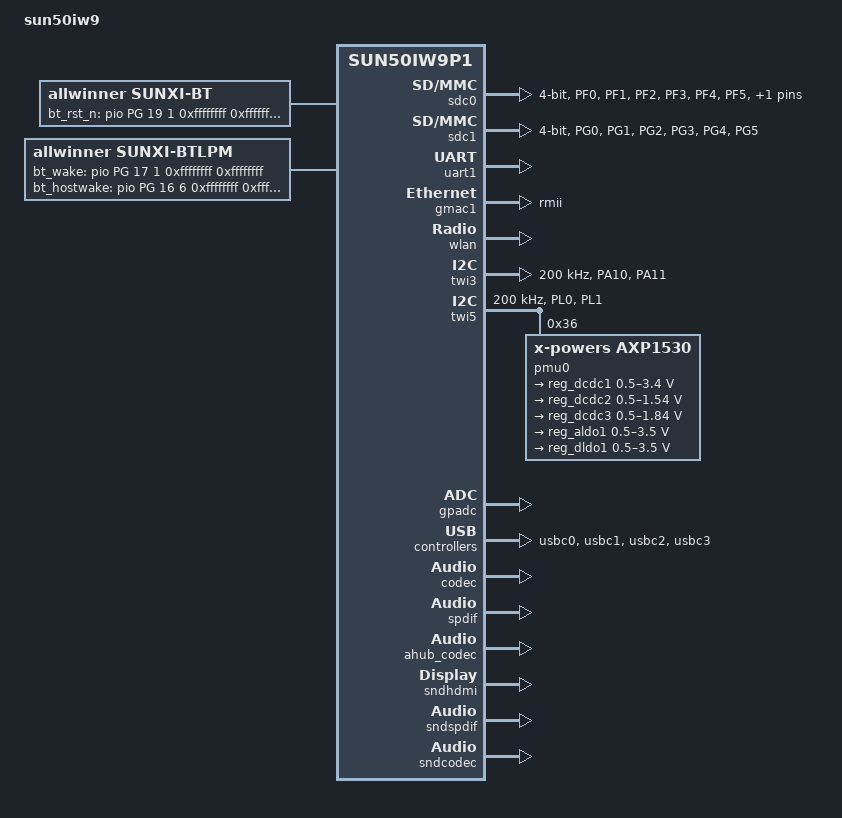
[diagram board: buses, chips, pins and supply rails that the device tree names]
/*
 * Allwinner Technology CO., Ltd. sun8iw19p1 soc board.
 *
 * soc board support.
 */

/dts-v1/;

#include "sun50iw9p1.dtsi"

/{
	model = "sun50iw9";
	compatible = "allwinner,h616", "arm,sun50iw9p1";

	soc@03000000 {
		sdc2: sdmmc@04022000 {
			pinctrl-0 = <&sdc2_pins_a &sdc2_pins_c>;
			non-removable;
			bus-width = <8>;
			mmc-ddr-1_8v;
			mmc-hs200-1_8v;
			mmc-hs400-1_8v;
			no-sdio;
			no-sd;
			cap-mmc-highspeed;
			sunxi-power-save-mode;
			sunxi-dis-signal-vol-sw;
			max-frequency = <100000000>;
			status = "disabled";
		};

		sdc0: sdmmc@04020000 {
			pinctrl-0 = <&sdc0_pins_a>;
			bus-width = <4>;
			cd-gpios = <&pio PF 6 6 1 3 0xffffffff>;
			/*non-removable;*/
			/*broken-cd;*/
			/*cd-inverted*/
			/*data3-detect;*/
			cap-sd-highspeed;
			/*sd-uhs-sdr50;*/
			/*sd-uhs-ddr50;*/
			/*sd-uhs-sdr104;*/
			no-sdio;
			no-mmc;
			sunxi-power-save-mode;
			/*sunxi-dis-signal-vol-sw;*/
			max-frequency = <50000000>;
			ctl-spec-caps = <0x8>;
			status = "okay";
		};

		sdc1: sdmmc@04021000 {
			pinctrl-0 = <&sdc1_pins_a>;
			bus-width = <4>;
			no-mmc;
			no-sd;
			cap-sd-highspeed;
			/*sd-uhs-sdr12*/
			/*sd-uhs-sdr25*/
			/*sd-uhs-sdr50;*/
			/*sd-uhs-ddr50;*/
			/*sd-uhs-sdr104*/
			/*sunxi-power-save-mode;*/
			/*sunxi-dis-signal-vol-sw;*/
			cap-sdio-irq;
			keep-power-in-suspend;
			ignore-pm-notify;
			max-frequency = <50000000>;
			ctl-spec-caps = <0x8>;
			status = "okay";
		};

		uart1: uart@05000400 {
			status = "okay";
		};

		gmac1: eth@05030000 {
			phy-mode = "rmii";
			status = "okay";
		};

		ac200: ac200 {
			tv_used = <1>;
			tv_twi_used = <1>;
			tv_twi_id = <3>;
			tv_twi_addr = <16>;
			tv_pwm_ch = <1>;
			status = "okay";
		};

		wlan:wlan {
			compatible    = "allwinner,sunxi-wlan";
			clocks        = <&clk_losc_out>;
			pinctrl-0     = <&clk_losc_pins_a>;
			pinctrl-names = "default";
			wlan_busnum   = <0x1>;
			wlan_power;
			wlan_io_regulator;
			wlan_regon    = <&pio PG 18 1 0xffffffff 0xffffffff 0>;
			wlan_hostwake = <&pio PG 15 6 0xffffffff 0xffffffff 0>;
			chip_en;
			power_en;
			status        = "okay";
		};

		bt:bt {
			compatible    = "allwinner,sunxi-bt";
			clocks        = <&clk_losc_out>;
			bt_power;
			bt_io_regulator;
			bt_rst_n      = <&pio PG 19 1 0xffffffff 0xffffffff 0>;
			status        = "okay";
		};

		btlpm:btlpm {
			compatible  = "allwinner,sunxi-btlpm";
			uart_index  = <0x1>;
			bt_wake     = <&pio PG 17 1 0xffffffff 0xffffffff 1>;
			bt_hostwake = <&pio PG 16 6 0xffffffff 0xffffffff 0>;
			status      = "okay";
		};

		addr_mgt:addr_mgt {
			compatible     = "allwinner,sunxi-addr_mgt";
			type_addr_wifi = <0x0>;
			type_addr_bt   = <0x0>;
			type_addr_eth  = <0x0>;
			status         = "okay";
		};

		r_pio: pinctrl@07022000 {

			s_twi0_pins_a: s_twi0@0 {
				allwinner,pins = "PL0", "PL1";
				allwinner,pname = "s_twi0_scl", "s_twi0_sda";
				allwinner,function = "s_twi0";
				allwinner,muxsel = <3>;
				allwinner,drive = <1>;
				allwinner,pull = <1>;
			};

			s_twi0_pins_b: s_twi0@1 {
				allwinner,pins = "PL0", "PL1";
				allwinner,function = "io_disabled";
				allwinner,muxsel = <7>;
				allwinner,drive = <1>;
				allwinner,pull = <0>;
			};
		};

		pio: pinctrl@0300b000 {

			spi1_pins_a: spi1@0 {
				allwinner,pins = "PH6", "PH7", "PH8";
				allwinner,pname = "spi1_sclk", "spi1_mosi", "spi1_miso";
				allwinner,function = "spi1";
			};

			spi1_pins_b: spi1@1 {
				allwinner,pins = "PH5", "PH9";
				allwinner,pname = "spi1_cs0", "spi1_cs1";
				allwinner,function = "spi1";
			};

			spi1_pins_c: spi1@2 {
				allwinner,pins = "PH5", "PH6", "PH7", "PH8", "PH9";
				allwinner,function = "io_disabled";
			};

			twi0_pins_a: twi0@0 {
				allwinner,pins = "PA0", "PA1";
				allwinner,pname = "twi0_scl", "twi0_sda";
				allwinner,function = "twi0";
				allwinner,muxsel = <4>;
				allwinner,drive = <1>;
				allwinner,pull = <0>;
			};

			twi0_pins_b: twi0@1 {
				allwinner,pins = "PA0", "PA1";
				allwinner,function = "io_disabled";
				allwinner,muxsel = <7>;
				allwinner,drive = <1>;
				allwinner,pull = <0>;
			};

			twi1_pins_a: twi1@0 {
				allwinner,pins = "PA2", "PA3";
				allwinner,pname = "twi1_scl", "twi1_sda";
				allwinner,function = "twi1";
				allwinner,muxsel = <4>;
				allwinner,drive = <1>;
				allwinner,pull = <0>;
			};

			twi1_pins_b: twi1@1 {
				allwinner,pins = "PA2", "PA3";
				allwinner,function = "io_disabled";
				allwinner,muxsel = <7>;
				allwinner,drive = <1>;
				allwinner,pull = <0>;
			};

			twi2_pins_a: twi2@0 {
				allwinner,pins = "PE20", "PE21";
				allwinner,pname = "twi2_scl", "twi2_sda";
				allwinner,function = "twi2";
				allwinner,muxsel = <5>;
				allwinner,drive = <1>;
				allwinner,pull = <0>;
			};

			twi2_pins_b: twi2@1 {
				allwinner,pins = "PE20", "PE21";
				allwinner,function = "io_disabled";
				allwinner,muxsel = <7>;
				allwinner,drive = <1>;
				allwinner,pull = <0>;
			};

			twi3_pins_a: twi3@0 {
				allwinner,pins = "PA10", "PA11";
				allwinner,pname = "twi3_scl", "twi3_sda";
				allwinner,function = "twi3";
				allwinner,muxsel = <2>;
				allwinner,drive = <1>;
				allwinner,pull = <1>;
			};

			twi3_pins_b: twi3@1 {
				allwinner,pins = "PA10", "PA11";
				allwinner,function = "io_disabled";
				allwinner,muxsel = <7>;
				allwinner,drive = <1>;
				allwinner,pull = <0>;
			};

			twi4_pins_a: twi4@0 {
				allwinner,pins = "PG15", "PG16";
				allwinner,pname = "twi4_scl", "twi4_sda";
				allwinner,function = "twi4";
				allwinner,muxsel = <5>;
				allwinner,drive = <1>;
				allwinner,pull = <0>;
			};

			twi4_pins_b: twi4@1 {
				allwinner,pins = "PG15", "PG16";
				allwinner,function = "io_disabled";
				allwinner,muxsel = <7>;
				allwinner,drive = <1>;
				allwinner,pull = <0>;
			};
			sdc0_pins_a: sdc0@0 {
				allwinner,pins = "PF0", "PF1", "PF2",
						 "PF3", "PF4", "PF5";
				allwinner,function = "sdc0";
				allwinner,muxsel = <2>;
				allwinner,drive = <3>;
				allwinner,pull = <1>;
			};
			sdc1_pins_a: sdc1@0 {
				allwinner,pins = "PG0", "PG1", "PG2",
						 "PG3", "PG4", "PG5";
				allwinner,function = "sdc1";
				allwinner,muxsel = <2>;
				allwinner,drive = <3>;
				allwinner,pull = <1>;
			};
			sdc2_pins_a: sdc2@0 {
				allwinner,pins = "PC1", "PC5", "PC6",
						 "PC8", "PC9", "PC10", "PC11",
						 "PC13", "PC14", "PC15", "PC16";
				allwinner,function = "sdc2";
				allwinner,muxsel = <3>;
				allwinner,drive = <2>;
				allwinner,pull = <1>;
			};
			sdc2_pins_b: sdc2@1 {
				allwinner,pins = "PC0", "PC1", "PC5", "PC6",
						 "PC8", "PC9", "PC10", "PC11",
						 "PC13", "PC14", "PC15", "PC16";
				allwinner,function = "io_disabled";
				allwinner,muxsel = <7>;
				allwinner,drive = <1>;
				allwinner,pull = <1>;
			};
			sdc2_pins_c: sdc2@2 {
				allwinner,pins = "PC0";
				allwinner,function = "sdc2";
				allwinner,muxsel = <3>;
				allwinner,drive = <2>;
				allwinner,pull = <2>;
			};
			pwm5_pin_a: pwm5@0 {
				allwinner,pins = "PA12";
				allwinner,function = "pwm5";
				allwinner,muxsel = <0x02>;
				allwinner,drive = <0xffffffff>;
				allwinner,pull = <0>;
				allwinner,data = <0xffffffff>;
			};

			pwm5_pin_b: pwm5@1 {
				allwinner,pins = "PA12";
				allwinner,function = "io_disabled";
				allwinner,muxsel = <0x07>;
				allwinner,drive = <0xffffffff>;
				allwinner,pull = <0>;
				allwinner,data = <0xffffffff>;
			};
		};

		spi1: spi@05011000 {
			pinctrl-0 = <&spi1_pins_a &spi1_pins_b>;
			pinctrl-1 = <&spi1_pins_c>;
			spi_slave_mode = <0>;
			status = "disabled";
			spi_board1 {
				device_type = "spi_board1";
				compatible = "rohm,dh2228fv";
				spi-max-frequency = <0x5f5e100>;
				reg = <0x0>;
				spi-rx-bus-width = <0x1>;
				spi-tx-bus-width = <0x1>;
			};
		};

		twi0: twi@0x05002000{
			clock-frequency = <400000>;
			pinctrl-0 = <&twi0_pins_a>;
			pinctrl-1 = <&twi0_pins_b>;
			status = "disabled";
		};

		twi1: twi@0x05002400{
			clock-frequency = <200000>;
			pinctrl-0 = <&twi1_pins_a>;
			pinctrl-1 = <&twi1_pins_b>;
			status = "disabled";
		};

		twi2: twi@0x05002800{
			clock-frequency = <200000>;
			pinctrl-0 = <&twi2_pins_a>;
			pinctrl-1 = <&twi2_pins_b>;
			status = "disabled";
		};

		twi3: twi@0x05002c00{
			clock-frequency = <200000>;
			pinctrl-0 = <&twi3_pins_a>;
			pinctrl-1 = <&twi3_pins_b>;
			status = "okay";
		};

		twi4: twi@0x05003000{
			clock-frequency = <200000>;
			pinctrl-0 = <&twi4_pins_a>;
			pinctrl-1 = <&twi4_pins_b>;
			status = "disabled";
		};

		twi5: twi@0x07081400{
			clock-frequency = <200000>;
			pinctrl-0 = <&s_twi0_pins_a>;
			pinctrl-1 = <&s_twi0_pins_b>;
			status = "okay";
		};

		pwm5: pwm5@0300a000 {
			pinctrl-names = "active", "sleep";
			pinctrl-0 = <&pwm5_pin_a>;
			pinctrl-1 = <&pwm5_pin_b>;
			/*internal pwm as clock,no ouput*/
			clk_bypass_output = <0x01>;
		};

	      /*----------------------------------------------------------------------------------
	       *resistance gpadc configuration
	       *channel_num:   Maxinum number of channels supported on the platform.
	       *channel_select:   channel enable setection. channel0:0x01  channel1:0x02 channel2:0x04 channel3:0x08
	       *channel_data_select:  channel data enable.  channel0:0x01  channel1:0x02 channel2:0x04 channel3:0x08.
	       *channel_compare_select:   compare function enable channel0:0x01  channel1:0x02 channel2:0x04 channel3:0x08.
	       *channel_cld_select:  compare function low data enable setection: channel0:0x01  channel1:0x02 channel2:0x04 channel3:0x08.
	       *channel_chd_select:  compare function hig data enable setection: channel0:0x01  channel1:0x02 channel2:0x04 channel3:0x08.
	       *----------------------------------------------------------------------------------*/
		gpadc:gpadc{
			channel_num = <1>;
			channel_select = <0x01>;
			channel_data_select = <0>;
			channel_compare_select = <0x01>;
			channel_cld_select = <0x01>;
			channel_chd_select = <0>;
			channel0_compare_lowdata = <1700000>;
			channel0_compare_higdata = <1200000>;
			key_cnt = <5>;
			key0_vol = <115>;
			key0_val = <115>;
			key1_vol = <240>;
			key1_val = <114>;
			key2_vol = <360>;
			key2_val = <139>;
			key3_vol = <480>;
			key3_val = <28>;
			key4_vol = <600>;
			key4_val = <102>;
			status = "okay";
		};

/*
 *usb_used: usb controller enable. 0-disable, 1-enable.
 *usb_port_type: usb mode. 0-device, 1-host, 2-otg.
 *usb_detect_type: usb hotplug detect mode. 0-none, 1-vbus/id detect, 2-id/dpdm detect.
 */
		usbc0:usbc0@0 {
			device_type		= "usbc0";
			usb_port_type		= <0x0>;
			usb_detect_type		= <0x1>;
			usb_detect_mode		= <0x0>;
			usb_id_gpio;
			usb_det_vbus_gpio;
			usb_drv_vbus_gpio;
			usb_host_init_state	= <0x0>;
			usb_regulator_io	= "nocare";
			usb_wakeup_suspend	= <0x0>;
			usb_luns		= <0x3>;
			usb_serial_unique	= <0x0>;
			usb_serial_number	= "20080411";
			status			= "okay";
		};

		usbc1:usbc1@0 {
			device_type		= "usbc1";
			usb_drv_vbus_gpio	= <&pio PH 8 0 1 0xffffffff 0xffffffff>;
			usb_host_init_state	= <0x1>;
			usb_regulator_io	= "nocare";
			usb_wakeup_suspend	= <0x1>;
			status			= "okay";
		};

		usbc2:usbc2@0 {
			device_type		= "usbc2";
			usb_drv_vbus_gpio;
			usb_host_init_state	= <0x1>;
			usb_regulator_io	= "nocare";
			usb_wakeup_suspend	= <0x1>;
			status			= "okay";
		};

		usbc3:usbc3@0 {
			device_type		= "usbc3";
			usb_drv_vbus_gpio;
			usb_host_init_state	= <0x1>;
			usb_regulator_io	= "nocare";
			usb_wakeup_suspend	= <0x1>;
			status			= "okay";
		};

		/* audio dirver module */
		codec:codec@0x05096000 {
			adcdrc_cfg  = <0x00>;
			adchpf_cfg  = <0x00>;
			dacdrc_cfg  = <0x00>;
			dachpf_cfg  = <0x00>;
			fmin_gain   = <0x03>;
			linein_gain = <0x03>;
			digital_vol = <0x00>;
			lineout_vol = <0x1a>;
			/* CVBS audio output enable control */
			gpio-spk = <&pio PH 5 1 1 1 1>;
			pa_ctl_level   = <0x01>;
			pa_msleep_time = <0xA0>;
			status = "okay";
		};

		spdif:spdif-controller@0x05093000{
			status = "okay";
		};

		dmic:dmic-controller@0x05095000{
			status = "disabled";
		};

		ahub_codec:ahub_codec@0x05097000{
			status = "okay";
		};

		ahub_daudio0:ahub_daudio0@0x05097000{
			/* for choose the corresponding pins */
			pinctrl-0 = <&ahub_daudio0_pins_c>;
			pinctrl-1 = <&ahub_daudio0_pins_d>;
			pinconfig 		= <0x01>;
			frametype 		= <0x00>;
			pcm_lrck_period		= <0x20>;
			slot_width_select	= <0x20>;
			daudio_master		= <0x04>;
			audio_format  		= <0x01>;
			signal_inversion 	= <0x01>;
			tdm_config		= <0x01>;
			mclk_div 		= <0x00>;
			status = "okay";
		};

		ahub_daudio1:ahub_daudio1@0x05097000{
			pinconfig 		= <0x00>;
			frametype 		= <0x00>;
			pcm_lrck_period 	= <0x20>;
			slot_width_select 	= <0x20>;
			daudio_master 		= <0x04>;
			audio_format 		= <0x01>;
			signal_inversion 	= <0x01>;
			tdm_config 		= <0x01>;
			mclk_div 		= <0x01>;
			status = "okay";
		};

		ahub_daudio2:ahub_daudio2@0x05097000{
			pinconfig 		= <0x01>;
			frametype 		= <0x00>;
			pcm_lrck_period 	= <0x20>;
			slot_width_select 	= <0x20>;
			daudio_master 		= <0x04>;
			audio_format 		= <0x01>;
			signal_inversion 	= <0x01>;
			tdm_config 		= <0x01>;
			mclk_div 		= <0x04>;
			status = "disabled";
		};

		ahub_daudio3:ahub_daudio3@0x05097000{
			pinconfig 		= <0x01>;
			frametype 		= <0x00>;
			pcm_lrck_period 	= <0x20>;
			slot_width_select 	= <0x20>;
			daudio_master 		= <0x04>;
			audio_format 		= <0x01>;
			signal_inversion 	= <0x01>;
			tdm_config 		= <0x01>;
			mclk_div 		= <0x04>;
			status = "disabled";
		};

		snddaudio0:sound@0{
			status = "okay";
		};

		sndhdmi:sound@1{
			status = "okay";
		};

		snddaudio2:sound@2{
			status = "disabled";
		};

		snddaudio3:sound@3{
			/* acx00-codec throught mfd_add_devices */
			/*
			sunxi,snddaudio-codec = "acx00-codec";
			sunxi,snddaudio-codec-dai = "acx00-dai";
			*/
			status = "disabled";
		};

		sndspdif:sound@4{
			status = "okay";
		};

		snddmic:sound@5{
			status = "disabled";
		};

		sndcodec:sound@6{
			status = "okay";
		};

		sndahub:sound@7{
			status = "okay";
		};
	};
};

&aliases {
	pmu0 = &pmu0;
	standby_param = &standby_param;
};

&s_cir0 {
	ir_power_key_code = <0x0>;
	ir_addr_code0 = <0x04>;
	ir_addr_cnt = <0x1>;
};

&cpu_trips{
	cpu_crit: cpu_crit@0 {
		temperature = <115000>;
		type = "critical";
		hysteresis = <0>;
	};
};

&twi5 {
	no_suspend = <1>;
	status = "okay";

	pmu0: pmu{
		compatible = "x-powers,axp1530";
		reg = <0x36>;
		interrupt-parent = <&nmi_intc>;
		interrupts = <0 IRQ_TYPE_LEVEL_LOW>;
		interrupt-controller;
		#interrupt-cells = <1>;

		wakeup-source;

		standby_param: standby_param {
			vcc-dram = <0x4>;
		};

		regulators{
			reg_dcdc1: dcdc1 {
				regulator-name = "axp1530-dcdc1";
				regulator-min-microvolt = <500000>;
				regulator-max-microvolt = <3400000>;
				regulator-step-delay-us = <25>;
				regulator-final-delay-us = <50>;
				regulator-always-on;
			};

			reg_dcdc2: dcdc2 {
				regulator-name = "axp1530-dcdc2";
				regulator-min-microvolt = <500000>;
				regulator-max-microvolt = <1540000>;
				regulator-step-delay-us = <25>;
				regulator-final-delay-us = <50>;
				regulator-ramp-delay = <200>; /* FIXME */
				regulator-always-on;
			};

			reg_dcdc3: dcdc3 {
				regulator-name = "axp1530-dcdc3";
				regulator-min-microvolt = <500000>;
				regulator-max-microvolt = <1840000>;
				regulator-step-delay-us = <25>;
				regulator-final-delay-us = <50>;
				regulator-always-on;
			};

			reg_aldo1: ldo1 {
				regulator-name = "axp1530-aldo1";
				regulator-min-microvolt = <500000>;
				regulator-max-microvolt = <3500000>;
				regulator-step-delay-us = <25>;
				regulator-final-delay-us = <50>;
				regulator-always-on;
			};

			reg_dldo1: ldo2 {
				regulator-name = "axp1530-dldo1";
				regulator-min-microvolt = <500000>;
				regulator-max-microvolt = <3500000>;
				regulator-step-delay-us = <25>;
				regulator-final-delay-us = <50>;
				regulator-always-on;
			};
		};
	};
};

&cpu0 {
	cpu-supply = <&reg_dcdc2>;
};
